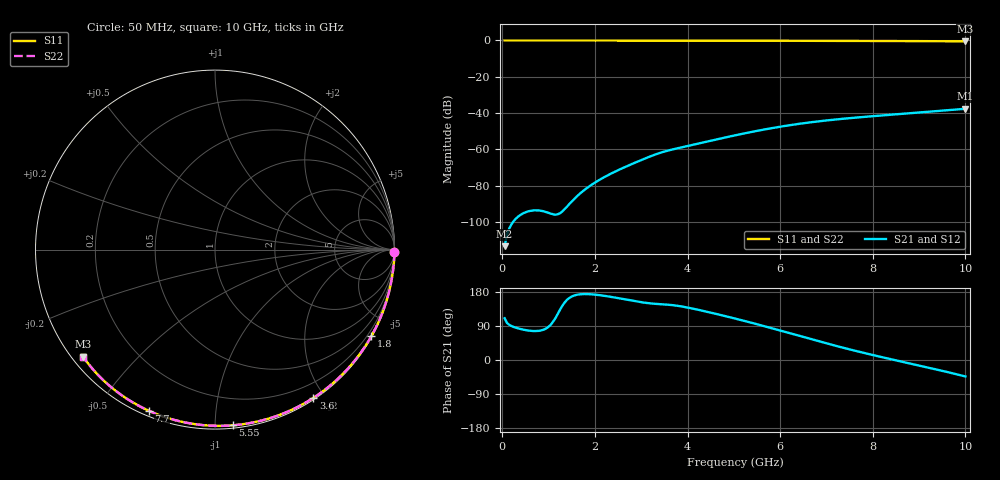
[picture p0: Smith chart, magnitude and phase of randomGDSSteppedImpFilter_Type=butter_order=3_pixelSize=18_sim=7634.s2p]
! freq	dB(S11)	phase(S11)	dB(S12)	phase(S12)
!  dB(S21)	phase(S21)	dB(S22)	phase(S22)
!S-par simulation data
#  GHz  S  DB  R 50
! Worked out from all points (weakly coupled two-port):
!   200 points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, 50 MHz to 10 GHz, reference 50 ohm
!   highest |S21| = -37.66 dB at 10 GHz (marker M1); lowest = -113.4 dB at 50 MHz (marker M2)
!   lowest |S11| = -0.5 dB at 10 GHz (marker M3), VSWR 36.61, Z = 1.54 - j17.8 ohm
!   |S11| at or under -10 dB: nowhere
!   |S22| runs from -0.5 to 0.0 dB; largest |S21 - S12| = 0
!   S11 on the Smith chart (normalised r, x): 50 MHz: open; 1.8 GHz: 0.03, -3.88; 3.6 GHz: 0.02, -1.86; 5.55 GHz: 0.02, -1.11; 7.7 GHz: 0.02, -0.67; 10 GHz: 0.03, -0.36
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0.05  -0.00 -0.8  -113.37 110.2  -113.37 110.2  -0.00 -0.8
0.45  -0.01 -7.3  -95.27 80.1  -95.27 80.1  -0.01 -7.3
0.9  -0.02 -14.6  -94.20 80.3  -94.20 80.3  -0.02 -14.6
1.3  -0.03 -21.0  -94.14 143.8  -94.14 143.8  -0.03 -21.0
1.75  -0.04 -28.1  -82.85 174.0  -82.85 174.0  -0.04 -28.1
1.8  -0.04 -28.9  -81.85 174.1  -81.85 174.1  -0.04 -28.9
1.9  -0.04 -30.5  -80.02 173.6  -80.02 173.6  -0.04 -30.5
2.05  -0.04 -32.8  -77.54 171.9  -77.54 171.9  -0.04 -32.8
2.2  -0.04 -35.2  -75.36 169.4  -75.36 169.4  -0.04 -35.2
2.55  -0.05 -40.6  -70.90 162.2  -70.90 162.2  -0.05 -40.6
3.05  -0.06 -48.2  -65.39 151.6  -65.39 151.6  -0.06 -48.2
3.4  -0.07 -53.5  -62.01 147.4  -62.01 147.4  -0.07 -53.4
3.6  -0.08 -56.4  -60.54 145.7  -60.54 145.7  -0.08 -56.4
4.3  -0.09 -66.6  -56.44 130.6  -56.44 130.6  -0.09 -66.6
5.05  -0.12 -77.2  -52.16 108.7  -52.16 108.7  -0.12 -77.2
5.55  -0.14 -84.1  -49.58 92.8  -49.58 92.8  -0.14 -84.1
6.1  -0.16 -91.6  -47.12 74.3  -47.12 74.3  -0.16 -91.5
6.7  -0.20 -99.5  -44.97 53.9  -44.97 53.9  -0.20 -99.5
7.7  -0.26 -112.3  -42.37 21.9  -42.37 21.9  -0.26 -112.3
8.35  -0.31 -120.5  -41.01 3.2  -41.01 3.2  -0.31 -120.4
9.2  -0.38 -131.0  -39.30 -20.1  -39.30 -20.1  -0.38 -131.0
10  -0.47 -140.9  -37.66 -43.5  -37.66 -43.5  -0.47 -140.9
